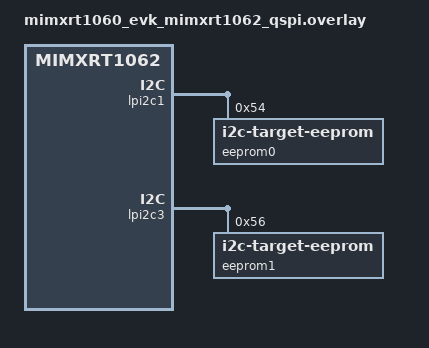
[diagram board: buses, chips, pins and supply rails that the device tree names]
/*
 * Copyright 2023 NXP
 *
 * SPDX-License-Identifier: Apache-2.0
 */

&pinctrl {
	pinmux_lpi2c3: pinmux_lpi2c3 {
		group0 {
			pinmux = <&iomuxc_gpio_ad_b1_06_lpi2c3_sda>,
				 <&iomuxc_gpio_ad_b1_07_lpi2c3_scl>;
			drive-strength = "r0-6";
			drive-open-drain;
			slew-rate = "slow";
			input-enable;
			nxp,speed = "100-mhz";
		};
	};
};

/* To test this sample, connect J22.2 <-> J24.9 and J22.1 <-> J24.10 */

&lpi2c1 {
	status = "okay";

	eeprom0: eeprom@54 {
		compatible = "zephyr,i2c-target-eeprom";
		reg = <0x54>;
		size = <256>;
	};
};

&lpi2c3 {
	pinctrl-0 = <&pinmux_lpi2c3>;
	pinctrl-names = "default";
	status = "okay";

	eeprom1: eeprom@56 {
		compatible = "zephyr,i2c-target-eeprom";
		reg = <0x56>;
		size = <256>;
	};
};
